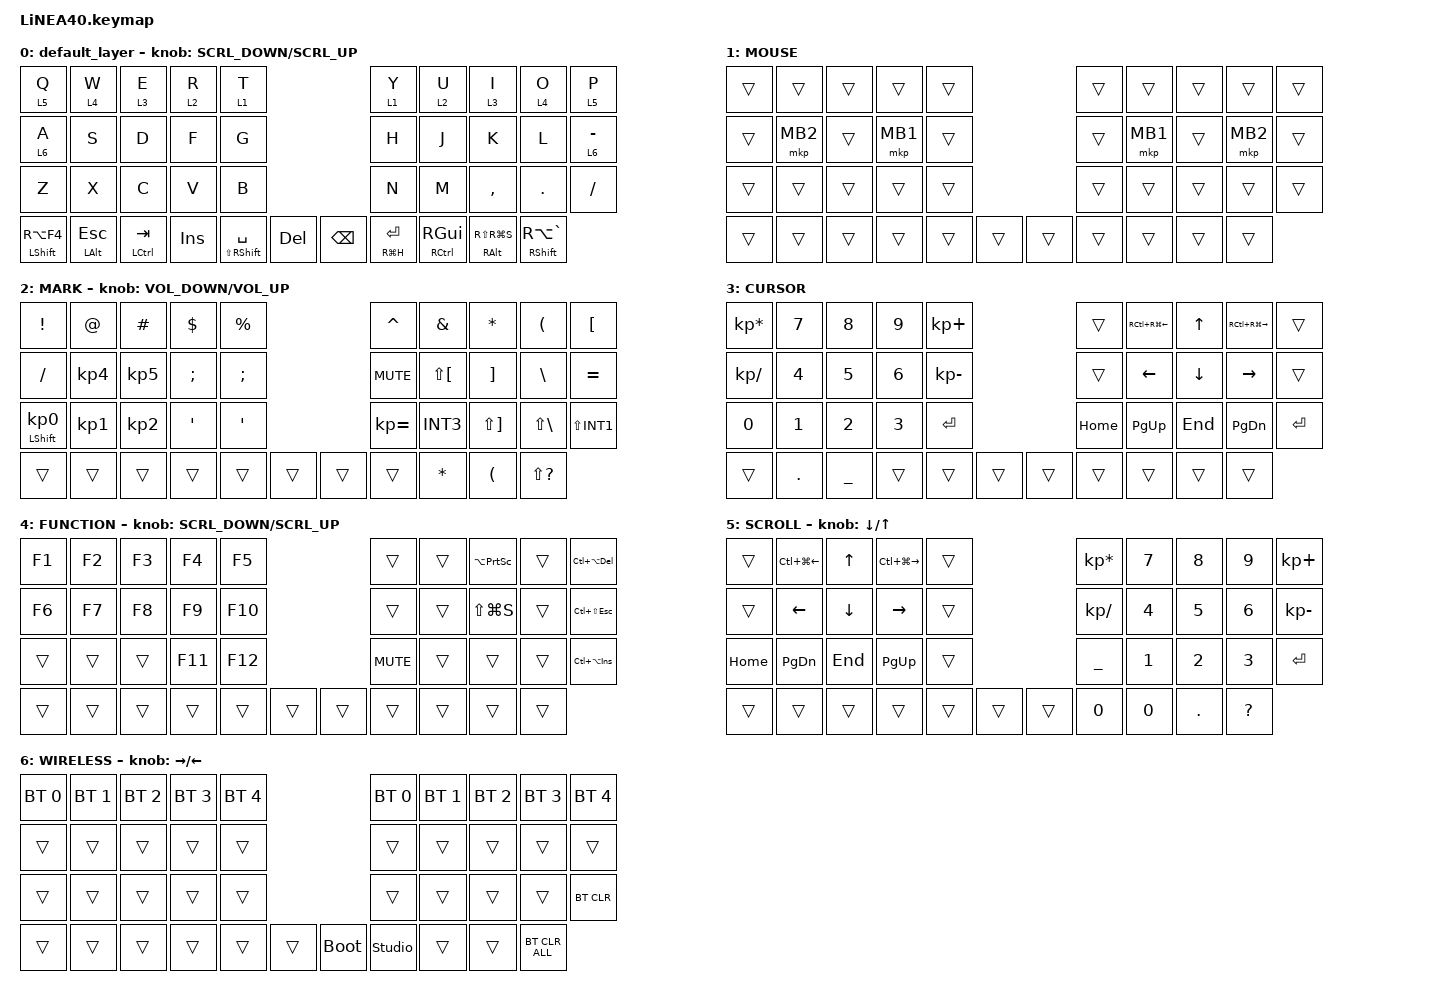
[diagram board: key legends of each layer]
#define ZMK_POINTING_DEFAULT_SCRL_VAL 150

#include <dt-bindings/zmk/input_transform.h>
#include <input/processors.dtsi>
#include <zephyr/dt-bindings/input/input-event-codes.h>
#include <behaviors.dtsi>
#include <dt-bindings/zmk/bt.h>
#include <dt-bindings/zmk/keys.h>
#include <dt-bindings/zmk/pointing.h>

#define MOUSE 1
#define MARK 2
#define CURSOR 3
#define FUNCTION 4
#define SCROLL 5
#define WIRELESS 6

//mouse cursol

&mmv {
    delay-ms = <20>;
    trigger-period-ms = <5>;
    time-to-max-speed-ms = <100>;
    acceleration-exponent = <2>;
};

//mouse scroll

&msc {
    delay-ms = <3>;
    trigger-period-ms = <3>;
    time-to-max-speed-ms = <100>;
    acceleration-exponent = <0>;
};

/ {
    input_processors {
        zip_wheel_scaler: zip_wheel_scaler {
            compatible = "zmk,input-processor-scaler";
            #input-processor-cells = <2>;
            type = <INPUT_EV_REL>;
            codes = <INPUT_REL_WHEEL>;
            track-remainders;
        };
    };
};

&msc_input_listener {
    speed_up {
        layers = <FUNCTION>;
        input-processors = <&zip_wheel_scaler 3 1>; //スクロールを3倍速にする
    };
};

&trackball_listener {
    scroller {
        layers = <SCROLL>;
        input-processors =
            <&zip_xy_transform INPUT_TRANSFORM_Y_INVERT>,
            //スクロール方向を逆転,,,,,,,,,,,,,
            <&zip_xy_to_scroll_mapper>;
    };
};

/ {
    combos {
        compatible = "zmk,combos";

        ZenkakuHankaku {
            bindings = <&kp GRAVE>;
            key-positions = <11 12>;
        };

        DeleteKey {
            bindings = <&kp DEL>;
            key-positions = <7 8>;
        };

        InsertKey {
            bindings = <&kp INS>;
            key-positions = <6 7>;
        };

        CenterClick {
            bindings = <&mkp MB3>;
            key-positions = <17 16>;
        };

        RightClick {
            bindings = <&mkp MB2>;
            key-positions = <18 17>;
        };

        PrevClick {
            bindings = <&mkp MB4>;
            key-positions = <27 28>;
        };

        ClickNext {
            bindings = <&mkp MB5>;
            key-positions = <26 27>;
        };
    };

    behaviors {
        re_kp: sensor_rotate_kp {
            compatible = "zmk,behavior-sensor-rotate-var";
            #sensor-binding-cells = <2>;
            bindings = <&kp>, <&kp>;
        };

        mouse_scrl: mouse_wheel_scrl {
            compatible = "zmk,behavior-sensor-rotate-var";
            #sensor-binding-cells = <2>;
            bindings = <&msc>, <&msc>;

            tap-ms = <20>;
        };
    };

    keymap {
        compatible = "zmk,keymap";

        default_layer {
            bindings = <
&lt 5 Q                &lt 4 W              &lt 3 E               &lt 2 R  &lt 1 T                                              &lt 1 Y          &lt 2 U  &lt 3 I                      &lt 4 O                  &lt 5 P
&lt 6 A                &kp S                &kp D                 &kp F    &kp G                                                &kp H            &kp J    &kp K                        &kp L                    &lt 6 MINUS
&kp Z                  &kp X                &kp C                 &kp V    &kp B                                                &kp N            &kp M    &kp COMMA                    &kp PERIOD               &kp SLASH
&mt LEFT_SHIFT RA(F4)  &mt LEFT_ALT ESCAPE  &mt LEFT_CONTROL TAB  &kp INS  &mt LS(RIGHT_SHIFT) SPACE  &kp DEL    &kp BACKSPACE  &mt RG(H) ENTER           &mt RIGHT_CONTROL RIGHT_GUI  &mt RIGHT_ALT RS(RG(S))  &mt RIGHT_SHIFT RA(GRAVE)
            >;

            sensor-bindings = <&mouse_scrl SCRL_DOWN SCRL_UP>;
        };

        //1

        MOUSE {
            bindings = <
&trans  &trans    &trans  &trans    &trans                    &trans  &trans    &trans  &trans    &trans
&trans  &mkp MB2  &trans  &mkp MB1  &trans                    &trans  &mkp MB1  &trans  &mkp MB2  &trans
&trans  &trans    &trans  &trans    &trans                    &trans  &trans    &trans  &trans    &trans
&trans  &trans    &trans  &trans    &trans  &trans    &trans  &trans            &trans  &trans    &trans
            >;
        };

        //2

        MARK {
            bindings = <
&kp EXCLAMATION             &kp AT           &kp HASH         &kp DOLLAR     &kp PERCENT                      &kp CARET     &kp AMPERSAND  &kp ASTERISK           &kp LEFT_PARENTHESIS  &kp LBKT
&kp SLASH                   &kp KP_NUMBER_4  &kp KP_NUMBER_5  &kp SEMICOLON  &kp SEMICOLON                    &kp C_MUTE    &kp LS(LBKT)   &kp RIGHT_BRACKET      &kp BACKSLASH         &kp EQUAL
&mt LEFT_SHIFT KP_NUMBER_0  &kp KP_NUMBER_1  &kp KP_NUMBER_2  &kp APOS       &kp SQT                          &kp KP_EQUAL  &kp INT3       &kp LS(RIGHT_BRACKET)  &kp LS(BACKSLASH)     &kp LS(INT1)
&trans                      &trans           &trans           &trans         &trans         &trans    &trans  &trans                       &kp ASTERISK           &kp LEFT_PARENTHESIS  &kp LS(QUESTION)
            >;

            sensor-bindings = <&re_kp C_VOLUME_DOWN C_VOLUME_UP>;
        };

        //3

        CURSOR {
            bindings = <
&kp KP_MULTIPLY  &kp N7        &kp N8          &kp N9        &kp KP_PLUS                     &trans    &kp RC(RG(LEFT_ARROW))  &kp UP_ARROW  &kp RC(RG(RIGHT_ARROW))  &trans
&kp KP_SLASH     &kp NUMBER_4  &kp N5          &kp NUMBER_6  &kp KP_MINUS                    &trans    &kp LEFT_ARROW          &kp DOWN      &kp RIGHT                &trans
&kp N0           &kp NUMBER_1  &kp NUMBER_2    &kp NUMBER_3  &kp ENTER                       &kp HOME  &kp PG_UP               &kp END       &kp PAGE_DOWN            &kp ENTER
&trans           &kp PERIOD    &kp UNDERSCORE  &trans        &trans        &trans    &trans  &trans                            &trans        &trans                   &trans
            >;
        };

        //4

        FUNCTION {
            bindings = <
&kp F1  &kp F2  &kp F3  &kp F4   &kp F5                     &trans      &trans  &kp LA(PRINTSCREEN)  &trans  &kp LC(LA(DELETE))
&kp F6  &kp F7  &kp F8  &kp F9   &kp F10                    &trans      &trans  &kp LS(LG(S))        &trans  &kp LC(LS(ESCAPE))
&trans  &trans  &trans  &kp F11  &kp F12                    &kp C_MUTE  &trans  &trans               &trans  &kp LC(LA(INS))
&trans  &trans  &trans  &trans   &trans   &trans    &trans  &trans              &trans               &trans  &trans
            >;

            sensor-bindings = <&mouse_scrl SCRL_DOWN SCRL_UP>;
        };

        //5

        SCROLL {
            bindings = <
&trans    &kp LC(LG(LEFT_ARROW))  &kp UP_ARROW  &kp LC(LG(RIGHT_ARROW))  &trans                    &kp KP_MULTIPLY  &kp NUMBER_7  &kp NUMBER_8  &kp NUMBER_9  &kp KP_PLUS
&trans    &kp LEFT_ARROW          &kp DOWN      &kp RIGHT_ARROW          &trans                    &kp KP_SLASH     &kp NUMBER_4  &kp NUMBER_5  &kp NUMBER_6  &kp KP_MINUS
&kp HOME  &kp PAGE_DOWN           &kp END       &kp PAGE_UP              &trans                    &kp UNDER        &kp NUMBER_1  &kp NUMBER_2  &kp NUMBER_3  &kp ENTER
&trans    &trans                  &trans        &trans                   &trans  &trans    &trans  &kp NUMBER_0                   &kp NUMBER_0  &kp DOT       &kp QUESTION
            >;

            sensor-bindings = <&inc_dec_kp DOWN_ARROW UP_ARROW>;
        };

        //6

        WIRELESS {
            bindings = <
&bt BT_SEL 0  &bt BT_SEL 1  &bt BT_SEL 2  &bt BT_SEL 3  &bt BT_SEL 4                         &bt BT_SEL 0    &bt BT_SEL 1  &bt BT_SEL 2  &bt BT_SEL 3  &bt BT_SEL 4
&trans        &trans        &trans        &trans        &trans                               &trans          &trans        &trans        &trans        &trans
&trans        &trans        &trans        &trans        &trans                               &trans          &trans        &trans        &trans        &bt BT_CLR
&trans        &trans        &trans        &trans        &trans        &trans    &bootloader  &studio_unlock                &trans        &trans        &bt BT_CLR_ALL
            >;

            sensor-bindings = <&inc_dec_kp RIGHT_ARROW LEFT_ARROW>;
        };
    };
};
